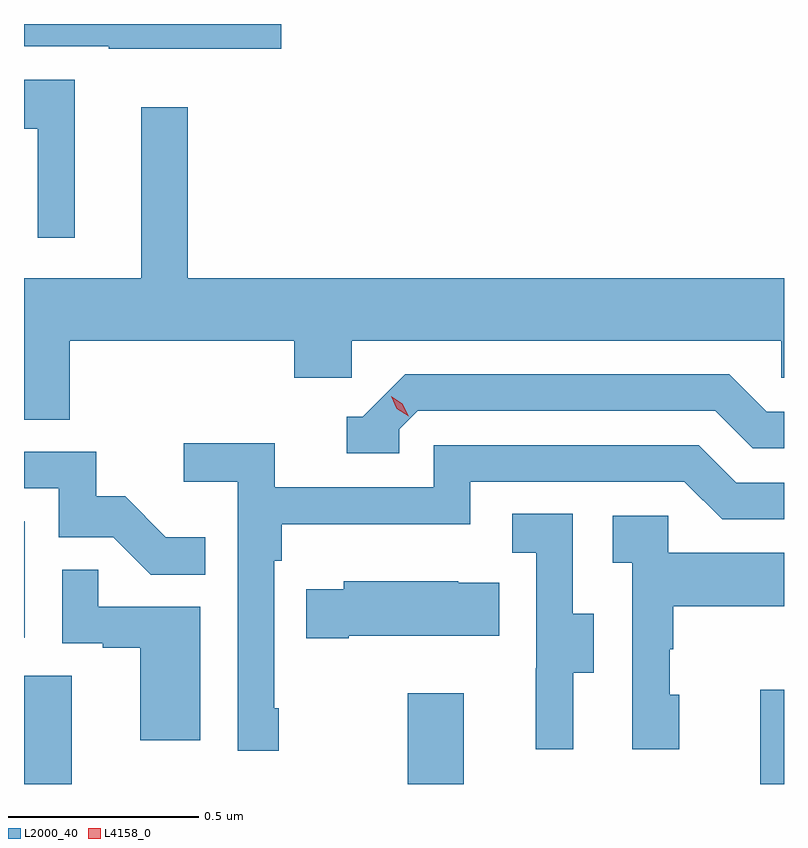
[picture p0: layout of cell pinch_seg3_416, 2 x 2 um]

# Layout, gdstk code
import gdstk
lib = gdstk.Library(unit=1e-6, precision=1e-09)
def R(c, l, rs):  # rectangles x0, y0, x1, y1
    for r in rs: c.add(gdstk.rectangle(r[:2], r[2:], *l))
def P(c, l, *ps):  # polygons
    for p in ps: c.add(gdstk.Polygon(p, *l))
L2000_40 = (2000, 40)
L4158_0 = (4158, 0)

pinch_seg3_416 = lib.new_cell('pinch_seg3_416')
R(pinch_seg3_416, L2000_40, [(927.83,697.085,927.955,697.37), (928.84,697.085,928.987,697.324), (929.768,697.085,929.83,697.333), (927.83,697.47,927.832,697.777)])
P(pinch_seg3_416, L2000_40, [(928.507,699.085),(927.83,699.085),(927.83,699.027),(928.053,699.027),(928.053,699.02),(928.507,699.02)],
  [(927.964,698.938),(927.83,698.938),(927.83,698.81),(927.866,698.81),(927.866,698.523),(927.964,698.523)],
  [(927.95,698.252),(928.541,698.252),(928.541,698.154),(928.692,698.154),(928.692,698.252),(929.823,698.252),(929.823,698.154),(929.83,698.154),(929.83,698.416),(928.261,698.416),(928.261,698.866),(928.139,698.866),(928.139,698.416),(927.83,698.416),(927.83,698.044),(927.95,698.044)],
  [(928.818,698.019),(928.866,698.067),(929.649,698.067),(929.748,697.968),(929.83,697.968),(929.83,698.064),(929.785,698.064),(929.686,698.163),(928.833,698.163),(928.722,698.052),(928.679,698.052),(928.679,697.956),(928.818,697.956)],
  [(928.501,697.285),(928.488,697.285),(928.488,697.673),(928.508,697.673),(928.508,697.769),(929.004,697.769),(929.004,697.881),(929.568,697.881),(929.667,697.782),(929.83,697.782),(929.83,697.878),(929.704,697.878),(929.605,697.977),(928.908,697.977),(928.908,697.866),(928.49,697.866),(928.49,697.982),(928.251,697.982),(928.251,697.88),(928.392,697.88),(928.392,697.173),(928.501,697.173)],
  [(928.307,697.735),(928.203,697.735),(928.096,697.842),(928.02,697.842),(928.02,697.959),(927.83,697.959),(927.83,697.863),(927.921,697.863),(927.921,697.734),(928.065,697.734),(928.163,697.636),(928.307,697.636)],
  [(929.275,697.378),(929.329,697.378),(929.329,697.533),(929.274,697.533),(929.274,697.796),(929.115,697.796),(929.115,697.693),(929.178,697.693),(929.178,697.389),(929.177,697.389),(929.177,697.176),(929.275,697.176)],
  [(929.554,697.32),(929.529,697.32),(929.529,697.439),(929.539,697.439),(929.539,697.553),(929.83,697.553),(929.83,697.693),(929.526,697.693),(929.526,697.791),(929.379,697.791),(929.379,697.667),(929.43,697.667),(929.43,697.176),(929.554,697.176)],
  [(928.294,697.551),(928.025,697.551),(928.025,697.649),(927.93,697.649),(927.93,697.455),(928.037,697.455),(928.037,697.443),(928.136,697.443),(928.136,697.2),(928.294,697.2)],
  [(928.684,697.475),(929.081,697.475),(929.081,697.615),(928.973,697.615),(928.973,697.618),(928.671,697.618),(928.671,697.597),(928.573,697.597),(928.573,697.468),(928.684,697.468)])
P(pinch_seg3_416, L4158_0, [(928.842,698.053),(928.811,698.073),(928.796,698.106),(928.796,698.106),(928.796,698.106),(928.826,698.086),(928.842,698.053),(928.842,698.053)])

lib.write_gds('pinch_seg3_416.gds')
